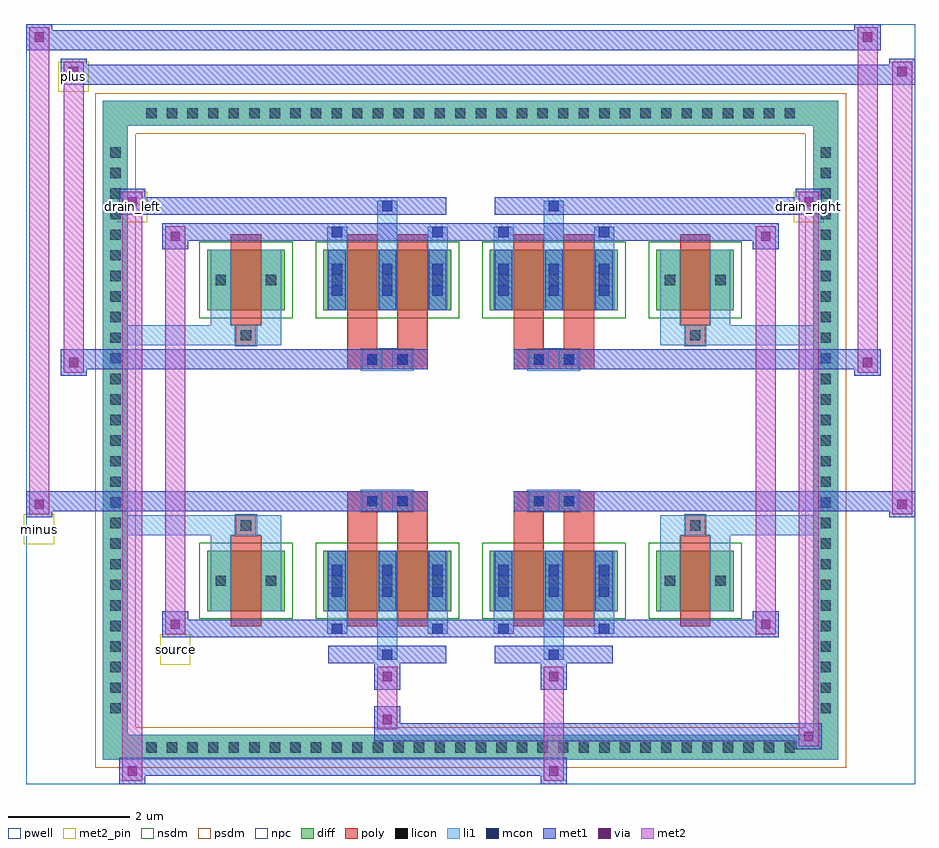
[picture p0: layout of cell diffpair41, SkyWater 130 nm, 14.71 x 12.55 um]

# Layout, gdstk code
import gdstk
lib = gdstk.Library(unit=1e-6, precision=5e-09)
def R(c, l, rs):  # rectangles x0, y0, x1, y1
    for r in rs: c.add(gdstk.rectangle(r[:2], r[2:], *l))
def A(c, l, x, y, w, h, nx, ny, dx, dy):  # array of equal rectangles
    R(c, l, [(x+i*dx, y+j*dy, x+i*dx+w, y+j*dy+h) for i in range(nx) for j in range(ny)])
def P(c, l, *ps):  # polygons
    for p in ps: c.add(gdstk.Polygon(p, *l))
pwell = (64, 44)
diff = (65, 20)
poly = (66, 20)
licon = (66, 44)
li1 = (67, 20)
mcon = (67, 44)
met1 = (68, 20)
via = (68, 44)
met2_pin = (69, 16)
met2 = (69, 20)
nsdm = (93, 44)
psdm = (94, 20)
npc = (95, 20)

diffpair41 = lib.new_cell('diffpair41')
R(diffpair41, pwell, [(-7.34,-5.84,7.34,6.71), (-4.66,-4.03,-0.01,-0.805), (0.01,-4.03,4.66,-0.805), (-4.66,0.805,-0.01,4.03), (0.01,0.805,4.66,4.03)])
A(diffpair41, diff, -5.475, -5.44, 0.41, 0.41, 32, 2, 0.34, 10.47)
A(diffpair41, diff, -6.07, -4.795, 0.41, 0.41, 1, 28, 0, 0.34)
A(diffpair41, diff, 5.66, -4.795, 0.41, 0.41, 1, 28, 0, 0.34)
R(diffpair41, diff, [(-5.475,-5.44,5.475,-5.03), (-6.07,-4.795,-5.66,4.795), (5.66,-4.795,6.07,4.795), (-4.35,-2.985,-3.07,-1.985), (-2.43,-2.985,-0.32,-1.985), (0.32,-2.985,2.43,-1.985), (3.07,-2.985,4.35,-1.985), (-4.35,1.985,-3.07,2.985), (-2.43,1.985,-0.32,2.985), (0.32,1.985,2.43,2.985), (3.07,1.985,4.35,2.985), (-5.475,5.03,5.475,5.44)])
P(diffpair41, diff, [(6.07,5.44),(-6.07,5.44),(-6.07,-5.03),(-5.66,-5.03),(-5.66,5.03),(5.66,5.03),(5.66,-5.03),(-5.66,-5.03),(-6.07,-5.03),(-6.07,-5.44),(6.07,-5.44)])
R(diffpair41, poly, [(-3.96,-3.235,-3.46,-1.735), (-2.04,-3.235,-1.54,-1.735), (-1.21,-3.235,-0.71,-1.735), (0.71,-3.235,1.21,-1.735), (1.54,-3.235,2.04,-1.735), (3.46,-3.235,3.96,-1.735), (-3.875,-1.735,-3.545,-1.405), (-3.875,-1.735,-3.545,-1.405), (-2.04,-1.735,-1.54,-1.335), (-1.21,-1.735,-0.71,-1.335), (0.71,-1.735,1.21,-1.335), (1.54,-1.735,2.04,-1.335), (3.545,-1.735,3.875,-1.405), (3.545,-1.735,3.875,-1.405), (-2.04,-1.335,-0.71,-1.005), (-1.79,-1.335,-1.46,-1.005), (-1.29,-1.335,-0.96,-1.005), (0.71,-1.335,2.04,-1.005), (0.96,-1.335,1.29,-1.005), (1.46,-1.335,1.79,-1.005), (-2.04,1.005,-0.71,1.335), (-1.79,1.005,-1.46,1.335), (-1.29,1.005,-0.96,1.335), (0.71,1.005,2.04,1.335), (0.96,1.005,1.29,1.335), (1.46,1.005,1.79,1.335), (-2.04,1.335,-1.54,1.735), (-1.21,1.335,-0.71,1.735), (0.71,1.335,1.21,1.735), (1.54,1.335,2.04,1.735), (-3.875,1.405,-3.545,1.735), (-3.875,1.405,-3.545,1.735), (3.545,1.405,3.875,1.735), (3.545,1.405,3.875,1.735), (-3.96,1.735,-3.46,3.235), (-2.04,1.735,-1.54,3.235), (-1.21,1.735,-0.71,3.235), (0.71,1.735,1.21,3.235), (1.54,1.735,2.04,3.235), (3.46,1.735,3.96,3.235)])
A(diffpair41, licon, -5.355, -5.32, 0.17, 0.17, 32, 2, 0.34, 10.47)
A(diffpair41, licon, -5.95, -4.675, 0.17, 0.17, 1, 28, 0, 0.34)
A(diffpair41, licon, 5.78, -4.675, 0.17, 0.17, 1, 28, 0, 0.34)
A(diffpair41, licon, -2.29, -2.57, 0.17, 0.17, 3, 2, 0.83, 4.97)
A(diffpair41, licon, 0.46, -2.57, 0.17, 0.17, 3, 2, 0.83, 4.97)
R(diffpair41, licon, [(-4.21,-2.57,-4.04,-2.4), (-3.38,-2.57,-3.21,-2.4), (3.21,-2.57,3.38,-2.4), (4.04,-2.57,4.21,-2.4), (-3.795,-1.655,-3.625,-1.485), (3.625,-1.655,3.795,-1.485), (-1.71,-1.255,-1.54,-1.085), (-1.21,-1.255,-1.04,-1.085), (1.04,-1.255,1.21,-1.085), (1.54,-1.255,1.71,-1.085), (-1.71,1.085,-1.54,1.255), (-1.21,1.085,-1.04,1.255), (1.04,1.085,1.21,1.255), (1.54,1.085,1.71,1.255), (-3.795,1.485,-3.625,1.655), (3.625,1.485,3.795,1.655), (-4.21,2.4,-4.04,2.57), (-3.38,2.4,-3.21,2.57), (3.21,2.4,3.38,2.57), (4.04,2.4,4.21,2.57)])
A(diffpair41, li1, -5.435, -5.4, 0.33, 0.33, 32, 2, 0.34, 10.47)
A(diffpair41, li1, -6.03, -4.755, 0.33, 0.33, 1, 28, 0, 0.34)
A(diffpair41, li1, 5.7, -4.755, 0.33, 0.33, 1, 28, 0, 0.34)
A(diffpair41, li1, -2.37, -2.985, 0.33, 1, 3, 2, 0.83, 4.97)
A(diffpair41, li1, 0.38, -2.985, 0.33, 1, 3, 2, 0.83, 4.97)
A(diffpair41, li1, -2.29, -2.75, 0.17, 0.17, 3, 2, 0.83, 0.36)
A(diffpair41, li1, -2.29, -2.75, 0.17, 0.53, 3, 2, 0.83, 4.97)
A(diffpair41, li1, 0.46, -2.75, 0.17, 0.17, 3, 2, 0.83, 0.36)
A(diffpair41, li1, 0.46, -2.75, 0.17, 0.53, 3, 2, 0.83, 4.97)
A(diffpair41, li1, -2.37, -2.65, 0.33, 0.33, 3, 2, 0.83, 4.97)
A(diffpair41, li1, 0.38, -2.65, 0.33, 0.33, 3, 2, 0.83, 4.97)
A(diffpair41, li1, -2.29, 2.22, 0.17, 0.17, 3, 2, 0.83, 0.36)
A(diffpair41, li1, 0.46, 2.22, 0.17, 0.17, 3, 2, 0.83, 0.36)
R(diffpair41, li1, [(-6.07,-5.44,-5.66,-5.03), (-6.07,-5.44,-5.66,-5.03), (-5.66,-5.44,5.66,-5.03), (5.66,-5.44,6.07,-5.03), (5.66,-5.44,6.07,-5.03), (-6.07,-5.03,-5.66,5.03), (5.66,-5.03,6.07,5.03), (-1.54,-3.79,-1.21,-2.985), (-1.46,-3.79,-1.29,-3.62), (1.21,-3.79,1.54,-2.985), (1.29,-3.79,1.46,-3.62), (-2.37,-3.36,-2.04,-2.985), (-2.29,-3.36,-2.12,-3.19), (-0.71,-3.36,-0.38,-2.985), (-0.63,-3.36,-0.46,-3.19), (0.38,-3.36,0.71,-2.985), (0.46,-3.36,0.63,-3.19), (2.04,-3.36,2.37,-2.985), (2.12,-3.36,2.29,-3.19), (-4.29,-2.985,-3.96,-1.985), (-3.46,-2.985,-3.13,-1.985), (3.13,-2.985,3.46,-1.985), (3.96,-2.985,4.29,-1.985), (-4.29,-2.65,-3.96,-2.32), (-3.46,-2.65,-3.13,-2.32), (3.13,-2.65,3.46,-2.32), (3.96,-2.65,4.29,-2.32), (-4.29,-1.985,-3.96,-1.405), (-3.46,-1.985,-3.13,-1.405), (3.13,-1.985,3.46,-1.405), (3.96,-1.985,4.29,-1.405), (-6.07,-1.735,-3.875,-1.405), (-4.29,-1.735,-3.875,-1.405), (-3.875,-1.735,-3.545,-1.405), (-3.545,-1.735,-3.13,-1.405), (3.13,-1.735,3.545,-1.405), (3.545,-1.735,3.875,-1.405), (3.545,-1.735,6.07,-1.405), (3.875,-1.735,4.29,-1.405), (-1.79,-1.335,-1.46,-1.005), (-1.29,-1.335,-0.96,-1.005), (0.96,-1.335,1.29,-1.005), (1.46,-1.335,1.79,-1.005), (-1.79,1.005,-1.46,1.335), (-1.29,1.005,-0.96,1.335), (0.96,1.005,1.29,1.335), (1.46,1.005,1.79,1.335), (-6.07,1.405,-3.875,1.735), (-4.29,1.405,-3.875,1.735), (-4.29,1.405,-3.96,1.985), (-3.875,1.405,-3.545,1.735), (-3.545,1.405,-3.13,1.735), (-3.46,1.405,-3.13,1.985), (3.13,1.405,3.545,1.735), (3.13,1.405,3.46,1.985), (3.545,1.405,3.875,1.735), (3.545,1.405,6.07,1.735), (3.875,1.405,4.29,1.735), (3.96,1.405,4.29,1.985), (-4.29,1.985,-3.96,2.985), (-3.46,1.985,-3.13,2.985), (3.13,1.985,3.46,2.985), (3.96,1.985,4.29,2.985), (-4.29,2.32,-3.96,2.65), (-3.46,2.32,-3.13,2.65), (3.13,2.32,3.46,2.65), (3.96,2.32,4.29,2.65), (-2.37,2.985,-2.04,3.36), (-1.54,2.985,-1.21,3.79), (-0.71,2.985,-0.38,3.36), (0.38,2.985,0.71,3.36), (1.21,2.985,1.54,3.79), (2.04,2.985,2.37,3.36), (-2.29,3.19,-2.12,3.36), (-0.63,3.19,-0.46,3.36), (0.46,3.19,0.63,3.36), (2.12,3.19,2.29,3.36), (-1.46,3.62,-1.29,3.79), (1.29,3.62,1.46,3.79), (-6.07,5.03,-5.66,5.44), (-6.07,5.03,-5.66,5.44), (-5.66,5.03,5.66,5.44), (5.66,5.03,6.07,5.44), (5.66,5.03,6.07,5.44)])
A(diffpair41, mcon, -2.29, -2.75, 0.17, 0.17, 3, 2, 0.83, 0.36)
A(diffpair41, mcon, 0.46, -2.75, 0.17, 0.17, 3, 2, 0.83, 0.36)
A(diffpair41, mcon, -2.29, 2.22, 0.17, 0.17, 3, 2, 0.83, 0.36)
A(diffpair41, mcon, 0.46, 2.22, 0.17, 0.17, 3, 2, 0.83, 0.36)
R(diffpair41, mcon, [(-1.46,-3.79,-1.29,-3.62), (1.29,-3.79,1.46,-3.62), (-2.29,-3.36,-2.12,-3.19), (-0.63,-3.36,-0.46,-3.19), (0.46,-3.36,0.63,-3.19), (2.12,-3.36,2.29,-3.19), (-1.71,-1.255,-1.54,-1.085), (-1.21,-1.255,-1.04,-1.085), (1.04,-1.255,1.21,-1.085), (1.54,-1.255,1.71,-1.085), (-1.71,1.085,-1.54,1.255), (-1.21,1.085,-1.04,1.255), (1.04,1.085,1.21,1.255), (1.54,1.085,1.71,1.255), (-2.29,3.19,-2.12,3.36), (-0.63,3.19,-0.46,3.36), (0.46,3.19,0.63,3.36), (2.12,3.19,2.29,3.36), (-1.46,3.62,-1.29,3.79), (1.29,3.62,1.46,3.79)])
A(diffpair41, met1, -2.35, -2.985, 0.29, 1, 3, 2, 0.83, 4.97)
A(diffpair41, met1, 0.4, -2.985, 0.29, 1, 3, 2, 0.83, 4.97)
A(diffpair41, met1, -2.35, -2.81, 0.29, 0.29, 3, 2, 0.83, 0.36)
A(diffpair41, met1, 0.4, -2.81, 0.29, 0.29, 3, 2, 0.83, 0.36)
A(diffpair41, met1, -2.35, 2.16, 0.29, 0.29, 3, 2, 0.83, 0.36)
A(diffpair41, met1, 0.4, 2.16, 0.29, 0.29, 3, 2, 0.83, 0.36)
R(diffpair41, met1, [(-5.8,-5.84,-5.37,-5.41), (1.16,-5.84,1.59,-5.41), (-5.8,-5.7,1.59,-5.41), (5.37,-5.27,5.8,-4.84), (-1.59,-5.13,5.8,-4.84), (-1.59,-4.99,-1.16,-4.56), (-1.59,-4.28,-1.16,-3.85), (1.16,-4.28,1.59,-3.85), (-2.35,-3.85,-0.4,-3.56), (-1.52,-3.85,-1.23,-3.56), (0.4,-3.85,2.35,-3.56), (1.23,-3.85,1.52,-3.56), (-5.09,-3.42,-4.66,-2.99), (-5.09,-3.42,-2.35,-3.13), (-2.35,-3.42,-2.06,-3.13), (-2.35,-3.42,-0.4,-3.13), (-0.69,-3.42,-0.4,-3.13), (-0.4,-3.42,0.4,-3.13), (0.4,-3.42,0.69,-3.13), (0.4,-3.42,2.35,-3.13), (2.06,-3.42,2.35,-3.13), (2.35,-3.42,5.09,-3.13), (4.66,-3.42,5.09,-2.99), (-7.34,-1.435,-6.91,-1.005), (6.91,-1.435,7.34,-1.005), (-7.34,-1.335,-0.71,-1.005), (-2.04,-1.335,-0.71,-1.005), (0.71,-1.335,2.04,-1.005), (0.71,-1.335,7.34,-1.005), (-1.77,-1.315,-1.48,-1.025), (-1.27,-1.315,-0.98,-1.025), (0.98,-1.315,1.27,-1.025), (1.48,-1.315,1.77,-1.025), (-6.77,0.905,-6.34,1.335), (6.34,0.905,6.77,1.335), (-6.77,1.005,-2.04,1.335), (-2.04,1.005,-0.71,1.335), (0.71,1.005,2.04,1.335), (2.04,1.005,6.77,1.335), (-1.77,1.025,-1.48,1.315), (-1.27,1.025,-0.98,1.315), (0.98,1.025,1.27,1.315), (1.48,1.025,1.77,1.315), (-5.09,2.99,-4.66,3.42), (4.66,2.99,5.09,3.42), (-5.09,3.13,-2.35,3.42), (-2.35,3.13,-2.06,3.42), (-2.35,3.13,-0.4,3.42), (-0.69,3.13,-0.4,3.42), (-0.4,3.13,0.4,3.42), (0.4,3.13,0.69,3.42), (0.4,3.13,2.35,3.42), (2.06,3.13,2.35,3.42), (2.35,3.13,5.09,3.42), (-5.8,3.56,-5.37,3.99), (-5.8,3.56,-2.35,3.85), (-2.35,3.56,-0.4,3.85), (-1.52,3.56,-1.23,3.85), (0.4,3.56,2.35,3.85), (1.23,3.56,1.52,3.85), (2.35,3.56,5.8,3.85), (5.37,3.56,5.8,3.99), (-6.77,5.71,-6.34,6.14), (-6.77,5.71,-4.66,6.04), (-4.66,5.71,4.66,6.04), (4.66,5.71,7.34,6.04), (6.91,5.71,7.34,6.14), (-7.34,6.28,-6.91,6.71), (-7.34,6.28,-4.66,6.61), (-4.66,6.28,4.66,6.61), (4.66,6.28,6.77,6.61), (6.34,6.28,6.77,6.71)])
R(diffpair41, via, [(-5.66,-5.7,-5.51,-5.55), (1.3,-5.7,1.45,-5.55), (5.51,-5.13,5.66,-4.98), (-1.45,-4.85,-1.3,-4.7), (-1.45,-4.14,-1.3,-3.99), (1.3,-4.14,1.45,-3.99), (-4.95,-3.28,-4.8,-3.13), (4.8,-3.28,4.95,-3.13), (-7.2,-1.295,-7.05,-1.145), (7.05,-1.295,7.2,-1.145), (-6.63,1.045,-6.48,1.195), (6.48,1.045,6.63,1.195), (-4.95,3.13,-4.8,3.28), (4.8,3.13,4.95,3.28), (-5.66,3.7,-5.51,3.85), (5.51,3.7,5.66,3.85), (-6.63,5.85,-6.48,6), (7.05,5.85,7.2,6), (-7.2,6.42,-7.05,6.57), (6.48,6.42,6.63,6.57)])
R(diffpair41, met2_pin, [(-5.125,-3.87,-4.625,-3.37), (-7.375,-1.885,-6.875,-1.385), (-5.835,3.44,-5.335,3.94), (5.335,3.44,5.835,3.94), (-6.805,5.59,-6.305,6.09)])
R(diffpair41, met2, [(-5.75,-5.79,-5.42,-5.46), (-5.75,-5.79,-5.42,3.94), (1.21,-5.79,1.54,-5.46), (1.21,-5.46,1.54,-4.23), (5.42,-5.22,5.75,-4.89), (5.42,-5.22,5.75,3.94), (-1.54,-4.94,-1.21,-4.61), (-1.54,-4.61,-1.21,-4.23), (-1.54,-4.23,-1.21,-3.9), (1.21,-4.23,1.54,-3.9), (-5.04,-3.37,-4.71,-3.04), (-5.04,-3.37,-4.71,3.37), (4.71,-3.37,5.04,-3.04), (4.71,-3.37,5.04,3.37), (-7.29,-1.385,-6.96,-1.055), (-7.29,-1.385,-6.96,6.66), (6.96,-1.385,7.29,-1.055), (6.96,-1.385,7.29,6.09), (-6.72,0.955,-6.39,1.285), (-6.72,0.955,-6.39,6.09), (6.39,0.955,6.72,1.285), (6.39,0.955,6.72,6.66), (-5.04,3.04,-4.71,3.37), (4.71,3.04,5.04,3.37), (-5.75,3.61,-5.42,3.94), (5.42,3.61,5.75,3.94), (-6.72,5.76,-6.39,6.09), (6.96,5.76,7.29,6.09), (-7.29,6.33,-6.96,6.66), (6.39,6.33,6.72,6.66)])
P(diffpair41, met2, [(7.29,-1.385),(7.29,-1.385),(7.29,-1.055),(7.29,-1.055)],
  [(7.29,5.76),(7.29,5.76),(7.29,6.09),(7.29,6.09)],
  [(-6.96,-1.385),(-6.96,-1.385),(-6.96,-1.055),(-6.96,-1.055)],
  [(-6.96,6.33),(-6.96,6.33),(-6.96,6.66),(-6.96,6.66)],
  [(6.72,0.955),(6.72,0.955),(6.72,1.285),(6.72,1.285)],
  [(6.72,6.33),(6.72,6.33),(6.72,6.66),(6.72,6.66)],
  [(-6.39,0.955),(-6.39,0.955),(-6.39,1.285),(-6.39,1.285)],
  [(-6.39,5.76),(-6.39,5.76),(-6.39,6.09),(-6.39,6.09)],
  [(-5.42,-5.79),(-5.42,-5.79),(-5.42,-5.46),(-5.42,-5.46)],
  [(-5.42,3.61),(-5.42,3.61),(-5.42,3.94),(-5.42,3.94)],
  [(5.75,-5.22),(5.75,-5.22),(5.75,-4.89),(5.75,-4.89)],
  [(5.75,3.61),(5.75,3.61),(5.75,3.94),(5.75,3.94)],
  [(-4.71,-3.37),(-4.71,-3.37),(-4.71,-3.04),(-4.71,-3.04)],
  [(-4.71,3.04),(-4.71,3.04),(-4.71,3.37),(-4.71,3.37)],
  [(5.04,-3.37),(5.04,-3.37),(5.04,-3.04),(5.04,-3.04)],
  [(5.04,3.04),(5.04,3.04),(5.04,3.37),(5.04,3.37)])
R(diffpair41, nsdm, [(-4.48,-3.115,-2.94,-1.855), (-2.56,-3.115,-0.19,-1.855), (0.19,-3.115,2.56,-1.855), (2.94,-3.115,4.48,-1.855), (-4.48,1.855,-2.94,3.115), (-2.56,1.855,-0.19,3.115), (0.19,1.855,2.56,3.115), (2.94,1.855,4.48,3.115)])
P(diffpair41, psdm, [(6.2,5.57),(-6.2,5.57),(-6.2,-4.9),(-5.53,-4.9),(-5.53,4.9),(5.53,4.9),(5.53,-4.9),(-5.53,-4.9),(-6.2,-4.9),(-6.2,-5.57),(6.2,-5.57)])
R(diffpair41, npc, [(-3.895,-1.755,-3.525,-1.385), (3.525,-1.755,3.895,-1.385), (-1.81,-1.355,-1.44,-0.985), (-1.81,-1.355,-0.94,-0.985), (-1.81,-1.355,-0.94,-0.985), (-1.31,-1.355,-0.94,-0.985), (0.94,-1.355,1.31,-0.985), (0.94,-1.355,1.81,-0.985), (0.94,-1.355,1.81,-0.985), (1.44,-1.355,1.81,-0.985), (-1.81,0.985,-1.44,1.355), (-1.81,0.985,-0.94,1.355), (-1.81,0.985,-0.94,1.355), (-1.31,0.985,-0.94,1.355), (0.94,0.985,1.31,1.355), (0.94,0.985,1.81,1.355), (0.94,0.985,1.81,1.355), (1.44,0.985,1.81,1.355), (-3.895,1.385,-3.525,1.755), (3.525,1.385,3.895,1.755)])
diffpair41.add(gdstk.Label('minus', (-7.125,-1.635), layer=69, texttype=5))
diffpair41.add(gdstk.Label('drain_right', (5.585,3.69), layer=69, texttype=5))
diffpair41.add(gdstk.Label('drain_left', (-5.585,3.69), layer=69, texttype=5))
diffpair41.add(gdstk.Label('source', (-4.875,-3.62), layer=69, texttype=5))
diffpair41.add(gdstk.Label('plus', (-6.555,5.84), layer=69, texttype=5))

lib.write_gds('diffpair41.gds')
